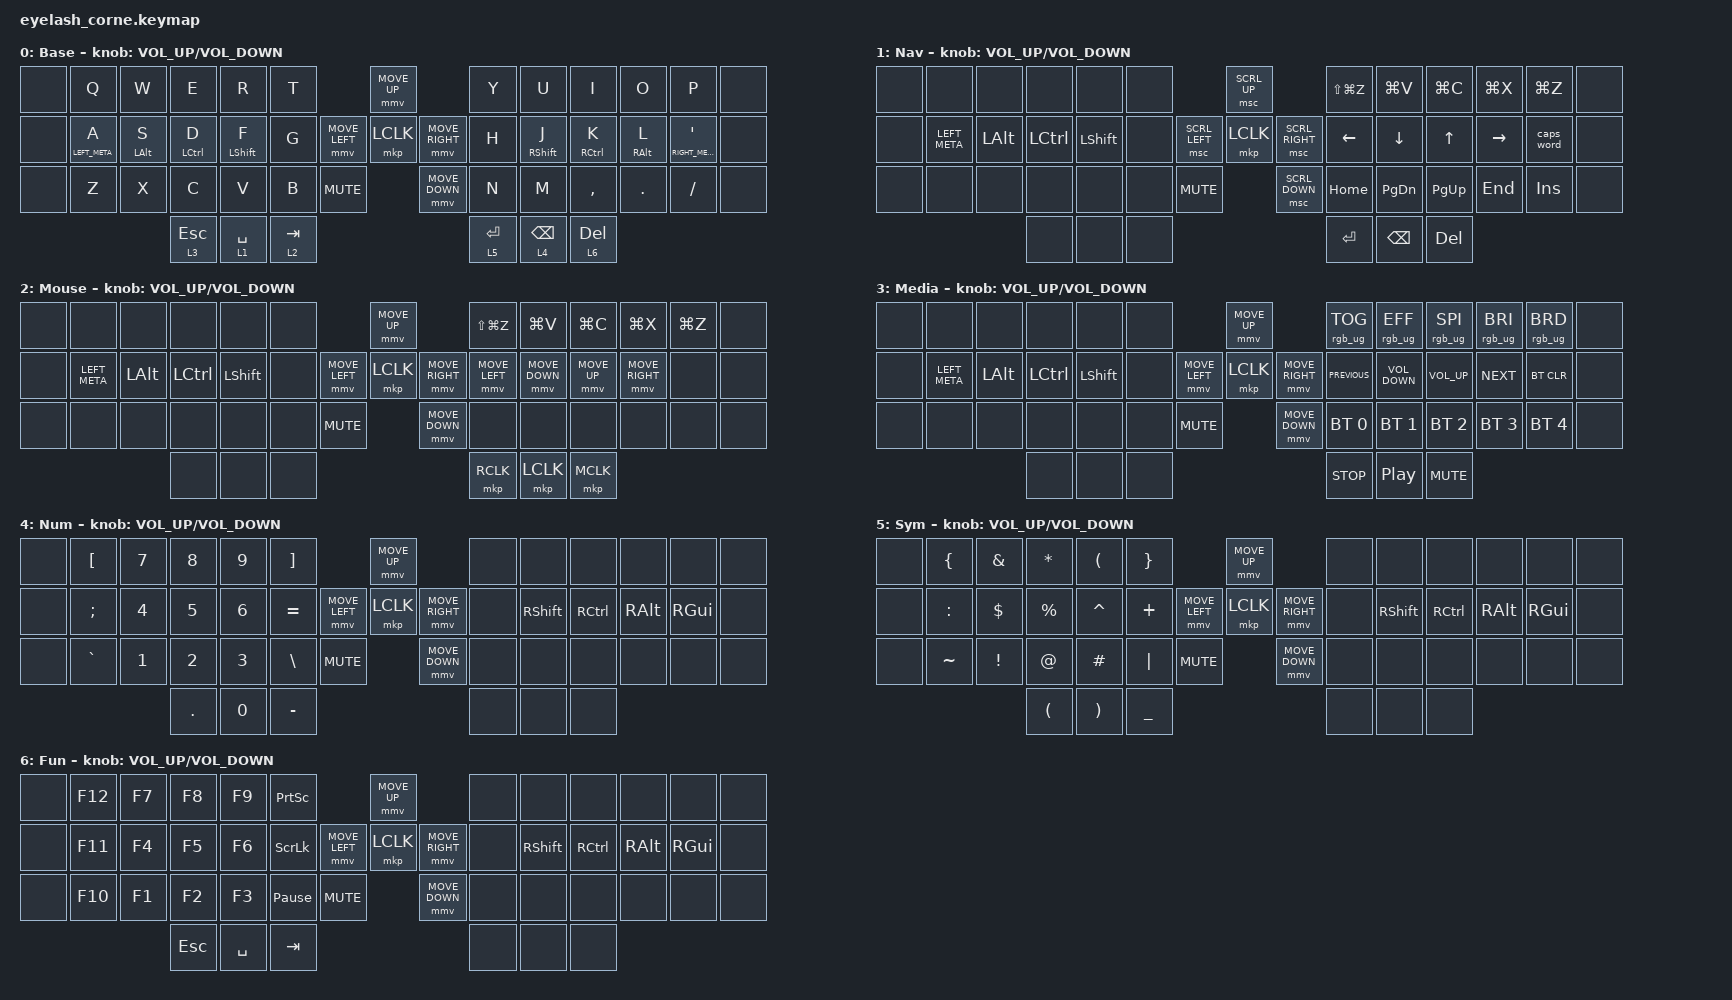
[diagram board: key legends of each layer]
#include <behaviors.dtsi>
#include <dt-bindings/zmk/bt.h>
#include <dt-bindings/zmk/keys.h>
#include <dt-bindings/zmk/mouse.h>
#include <dt-bindings/zmk/outputs.h>
#include <dt-bindings/zmk/rgb.h>
#include <input/processors.dtsi>

#define ZMK_POINTING_DEFAULT_MOVE_VAL 2400  // default: 600
#define ZMK_POINTING_DEFAULT_SCRL_VAL 20    // default: 10

#include <dt-bindings/zmk/pointing.h>

/ {
    behaviors {
        hml: hml {
            compatible = "zmk,behavior-hold-tap";
            label = "HML";
            bindings = <&kp>, <&kp>;

            #binding-cells = <2>;
            tapping-term-ms = <200>;
            flavor = "balanced";
            hold-trigger-on-release;
            quick-tap-ms = <175>;
            hold-trigger-key-positions = <7 8 9 10 11 12 22 23 24 25 26 27 36 37 38 39 40 41 46 47 45 46 42 43 44>;
            require-prior-idle-ms = <150>;
        };

        hmr: hmr {
            compatible = "zmk,behavior-hold-tap";
            label = "HMR";
            bindings = <&kp>, <&kp>;

            #binding-cells = <2>;
            tapping-term-ms = <200>;
            flavor = "balanced";
            hold-trigger-on-release;
            quick-tap-ms = <175>;
            hold-trigger-key-positions = <0 1 2 4 5 13 14 15 16 17 18 28 29 30 31 32 33 42 43 44 3 45 46 47>;
            require-prior-idle-ms = <150>;
        };
    };

    scroll_encoder: scroll_encoder {
        compatible = "zmk,behavior-sensor-rotate";
        #sensor-binding-cells = <0>;
        bindings = <&msc SCRL_DOWN>, <&msc SCRL_UP>;

        tap-ms = <30>;
    };

    keymap {
        compatible = "zmk,keymap";

        default {
            display-name = "Base";
            bindings = <
&none  &kp Q             &kp W            &kp E         &kp R              &kp T                                    &mmv MOVE_UP                     &kp Y        &kp U               &kp I         &kp O             &kp P                         &none
&none  &hml LEFT_META A  &hml LEFT_ALT S  &hml LCTRL D  &hml LEFT_SHIFT F  &kp G                    &mmv MOVE_LEFT  &mkp LCLK       &mmv MOVE_RIGHT  &kp H        &hmr RIGHT_SHIFT J  &hmr RCTRL K  &hmr RIGHT_ALT L  &hmr RIGHT_META SINGLE_QUOTE  &none
&none  &kp Z             &kp X            &kp C         &kp V              &kp B      &kp C_MUTE                    &mmv MOVE_DOWN                   &kp N        &kp M               &kp COMMA     &kp DOT           &kp FSLH                      &none
                                          &lt 3 ESC     &lt 1 SPACE        &lt 2 TAB                                                                 &lt 5 ENTER  &lt 4 BACKSPACE     &lt 6 DELETE
            >;

            sensor-bindings = <&inc_dec_kp C_VOLUME_UP C_VOLUME_DOWN>;
        };

        nav {
            display-name = "Nav";
            bindings = <
&none  &none          &none         &none      &none           &none                                &msc SCRL_UP                     &kp LS(LG(Z))  &kp LG(V)      &kp LG(C)    &kp LG(X)  &kp LG(Z)   &none
&none  &kp LEFT_META  &kp LEFT_ALT  &kp LCTRL  &kp LEFT_SHIFT  &none                &msc SCRL_LEFT  &mkp LCLK       &msc SCRL_RIGHT  &kp LEFT       &kp DOWN       &kp UP       &kp RIGHT  &caps_word  &none
&none  &none          &none         &none      &none           &none  &kp C_MUTE                    &msc SCRL_DOWN                   &kp HOME       &kp PAGE_DOWN  &kp PAGE_UP  &kp END    &kp INS     &none
                                    &none      &none           &none                                                                 &kp ENTER      &kp BACKSPACE  &kp DELETE
            >;

            sensor-bindings = <&inc_dec_kp C_VOLUME_UP C_VOLUME_DOWN>;
        };

        mouse {
            display-name = "Mouse";
            bindings = <
&none  &none          &none         &none      &none           &none                                &mmv MOVE_UP                     &kp LS(LG(Z))   &kp LG(V)       &kp LG(C)     &kp LG(X)        &kp LG(Z)  &none
&none  &kp LEFT_META  &kp LEFT_ALT  &kp LCTRL  &kp LEFT_SHIFT  &none                &mmv MOVE_LEFT  &mkp LCLK       &mmv MOVE_RIGHT  &mmv MOVE_LEFT  &mmv MOVE_DOWN  &mmv MOVE_UP  &mmv MOVE_RIGHT  &none      &none
&none  &none          &none         &none      &none           &none  &kp C_MUTE                    &mmv MOVE_DOWN                   &none           &none           &none         &none            &none      &none
                                    &none      &none           &none                                                                 &mkp RCLK       &mkp LCLK       &mkp MCLK
            >;

            sensor-bindings = <&inc_dec_kp C_VOLUME_UP C_VOLUME_DOWN>;
        };

        media {
            display-name = "Media";
            bindings = <
&none  &none          &none         &none      &none           &none                                &mmv MOVE_UP                     &rgb_ug RGB_TOG  &rgb_ug RGB_EFF    &rgb_ug RGB_SPI  &rgb_ug RGB_BRI  &rgb_ug RGB_BRD  &none
&none  &kp LEFT_META  &kp LEFT_ALT  &kp LCTRL  &kp LEFT_SHIFT  &none                &mmv MOVE_LEFT  &mkp LCLK       &mmv MOVE_RIGHT  &kp C_PREVIOUS   &kp C_VOLUME_DOWN  &kp C_VOLUME_UP  &kp C_NEXT       &bt BT_CLR       &none
&none  &none          &none         &none      &none           &none  &kp C_MUTE                    &mmv MOVE_DOWN                   &bt BT_SEL 0     &bt BT_SEL 1       &bt BT_SEL 2     &bt BT_SEL 3     &bt BT_SEL 4     &none
                                    &none      &none           &none                                                                 &kp C_STOP       &kp C_PLAY_PAUSE   &kp C_MUTE
            >;

            sensor-bindings = <&inc_dec_kp C_VOLUME_UP C_VOLUME_DOWN>;
        };

        num {
            bindings = <
&none  &kp LBKT   &kp N7  &kp N8   &kp N9  &kp RBKT                                 &mmv MOVE_UP                     &none  &none      &none      &none     &none     &none
&none  &kp SEMI   &kp N4  &kp N5   &kp N6  &kp EQUAL                &mmv MOVE_LEFT  &mkp LCLK       &mmv MOVE_RIGHT  &none  &kp RSHFT  &kp RCTRL  &kp RALT  &kp RGUI  &none
&none  &kp GRAVE  &kp N1  &kp N2   &kp N3  &kp BSLH   &kp C_MUTE                    &mmv MOVE_DOWN                   &none  &none      &none      &none     &none     &none
                          &kp DOT  &kp N0  &kp MINUS                                                                 &none  &none      &none
            >;

            label = "Num";
            sensor-bindings = <&inc_dec_kp C_VOLUME_UP C_VOLUME_DOWN>;
        };

        sym {
            bindings = <
&none  &kp LEFT_BRACE  &kp AMPERSAND  &kp ASTRK             &kp LEFT_PARENTHESIS   &kp RIGHT_BRACE                                &mmv MOVE_UP                     &none  &none      &none      &none     &none     &none
&none  &kp COLON       &kp DOLLAR     &kp PERCENT           &kp CARET              &kp PLUS                       &mmv MOVE_LEFT  &mkp LCLK       &mmv MOVE_RIGHT  &none  &kp RSHFT  &kp RCTRL  &kp RALT  &kp RGUI  &none
&none  &kp TILDE       &kp EXCL       &kp AT                &kp HASH               &kp PIPE         &kp C_MUTE                    &mmv MOVE_DOWN                   &none  &none      &none      &none     &none     &none
                                      &kp LEFT_PARENTHESIS  &kp RIGHT_PARENTHESIS  &kp UNDER                                                                       &none  &none      &none
            >;

            label = "Sym";
            sensor-bindings = <&inc_dec_kp C_VOLUME_UP C_VOLUME_DOWN>;
        };

        fun {
            bindings = <
&none  &kp F12  &kp F7  &kp F8   &kp F9     &kp PRINTSCREEN                                &mmv MOVE_UP                     &none  &none      &none      &none     &none     &none
&none  &kp F11  &kp F4  &kp F5   &kp F6     &kp SCROLLLOCK                 &mmv MOVE_LEFT  &mkp LCLK       &mmv MOVE_RIGHT  &none  &kp RSHFT  &kp RCTRL  &kp RALT  &kp RGUI  &none
&none  &kp F10  &kp F1  &kp F2   &kp F3     &kp PAUSE_BREAK  &kp C_MUTE                    &mmv MOVE_DOWN                   &none  &none      &none      &none     &none     &none
                        &kp ESC  &kp SPACE  &kp TAB                                                                         &none  &none      &none
            >;

            label = "Fun";
            sensor-bindings = <&inc_dec_kp C_VOLUME_UP C_VOLUME_DOWN>;
        };
    };
};
